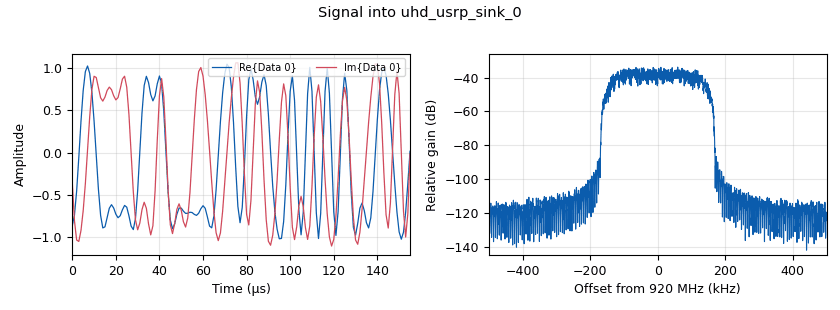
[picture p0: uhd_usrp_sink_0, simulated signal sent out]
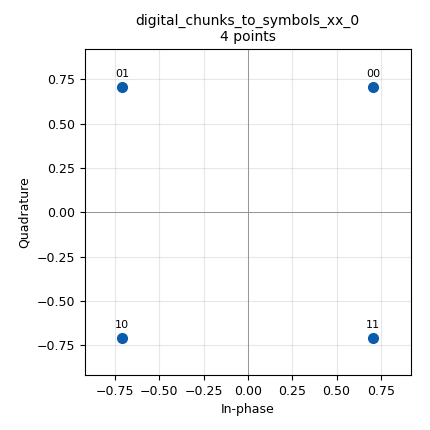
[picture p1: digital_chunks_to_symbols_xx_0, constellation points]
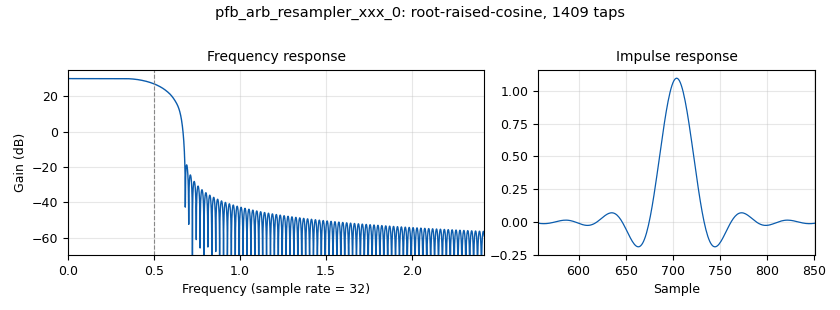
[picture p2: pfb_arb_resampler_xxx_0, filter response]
options:
  parameters:
    author: Dramco_Tianzheng
    generate_options: qt_gui
    id: QPSK_RPI_Tx
    output_language: python
    title: QPSK_RPI_Tx
  states: {}

blocks:
- name: d
  id: variable
  parameters:
    value: 1/(2**(1/2))
  states: {}
- name: excess_bw
  id: variable
  parameters:
    value: '0.35'
  states: {}
- name: filt_delay
  id: variable
  parameters:
    value: int(1+(taps_per_filt-1)//2)
  states: {}
- name: freq
  id: variable
  parameters:
    value: 920e6
  states: {}
- name: freq_offset
  id: variable
  parameters:
    value: '0'
  states: {}
- name: nfilts
  id: variable
  parameters:
    value: '32'
  states: {}
- name: qpsk_mg
  id: variable_constellation_rect
  parameters:
    const_points: '[d+d*1j, -d+d*1j,-d-d*1j, d-d*1j]'
    imag_sect: '2'
    real_sect: '2'
    rot_sym: '4'
    sym_map: '[0, 1, 3, 2]'
    w_imag_sect: '1'
    w_real_sect: '1'
  states: {}
- name: rrc_taps_tx
  id: variable
  parameters:
    value: firdes.root_raised_cosine(nfilts, nfilts, 1.0, excess_bw, 11*sps*nfilts)
  states: {}
- name: samp_rate
  id: variable
  parameters:
    value: '1000000'
  states: {}
- name: sps
  id: variable
  parameters:
    value: '4'
  states: {}
- name: taps
  id: variable
  parameters:
    value: '[0.825,0,0,0,0.526]'
  states: {}
- name: taps_1
  id: variable
  parameters:
    value: '[1,0,0,0.5]'
  states: {}
- name: taps_per_filt
  id: variable
  parameters:
    value: int((11*sps*nfilts)/nfilts)
  states: {}
- name: analog_random_source_x_0
  id: analog_random_source_x
  parameters:
    max: '256'
    min: '0'
    num_samps: '10000000'
    repeat: 'True'
    type: byte
  states: {}
- name: blocks_packed_to_unpacked_xx_0
  id: blocks_packed_to_unpacked_xx
  parameters:
    bits_per_chunk: '2'
    endianness: gr.GR_MSB_FIRST
    type: byte
  states: {}
- name: blocks_stream_to_tagged_stream_0
  id: blocks_stream_to_tagged_stream
  parameters:
    len_tag_key: '"packet_len"'
    packet_len: '1024'
    type: byte
  states: {}
- name: blocks_throttle_0
  id: blocks_throttle
  parameters:
    samples_per_second: samp_rate
    type: complex
  states: {}
- name: channels_channel_model_0
  id: channels_channel_model
  parameters:
    epsilon: '1'
    freq_offset: freq_offset
    noise_voltage: '0'
    seed: '0'
    taps: '1'
  states: {}
- name: digital_chunks_to_symbols_xx_0
  id: digital_chunks_to_symbols_xx
  parameters:
    dimension: '1'
    in_type: byte
    out_type: complex
    symbol_table: qpsk_mg.points()
  states: {}
- name: digital_diff_encoder_bb_0
  id: digital_diff_encoder_bb
  parameters:
    coding: digital.DIFF_DIFFERENTIAL
    modulus: '4'
  states: {}
- name: pdu_tagged_stream_to_pdu_0
  id: pdu_tagged_stream_to_pdu
  parameters:
    tag: packet_len
    type: byte
  states: {}
- name: pfb_arb_resampler_xxx_0
  id: pfb_arb_resampler_xxx
  parameters:
    atten: '100'
    nfilts: nfilts
    rrate: sps
    taps: rrc_taps_tx
    type: ccf
  states: {}
- name: uhd_usrp_sink_0
  id: uhd_usrp_sink
  parameters:
    ant0: '"TX/RX"'
    center_freq0: freq
    clock_rate: '0.0'
    dev_addr: '"serial=31DB555"'
    dev_args: '""'
    gain0: '50'
    len_tag_name: ''
    samp_rate: samp_rate
    sync: pc_clock
    type: fc32
  states: {}
- name: zeromq_push_msg_sink_1
  id: zeromq_push_msg_sink
  parameters:
    address: tcp://<192.108.2.61>:5555
    timeout: '100'
  states: {}

connections:
- [analog_random_source_x_0, '0', blocks_packed_to_unpacked_xx_0, '0']
- [blocks_packed_to_unpacked_xx_0, '0', blocks_stream_to_tagged_stream_0, '0']
- [blocks_packed_to_unpacked_xx_0, '0', digital_diff_encoder_bb_0, '0']
- [blocks_stream_to_tagged_stream_0, '0', pdu_tagged_stream_to_pdu_0, '0']
- [blocks_throttle_0, '0', channels_channel_model_0, '0']
- [channels_channel_model_0, '0', uhd_usrp_sink_0, '0']
- [digital_chunks_to_symbols_xx_0, '0', pfb_arb_resampler_xxx_0, '0']
- [digital_diff_encoder_bb_0, '0', digital_chunks_to_symbols_xx_0, '0']
- [pdu_tagged_stream_to_pdu_0, pdus, zeromq_push_msg_sink_1, in]
- [pfb_arb_resampler_xxx_0, '0', blocks_throttle_0, '0']

metadata:
  file_format: 1
  grc_version: 3.10.10.0
